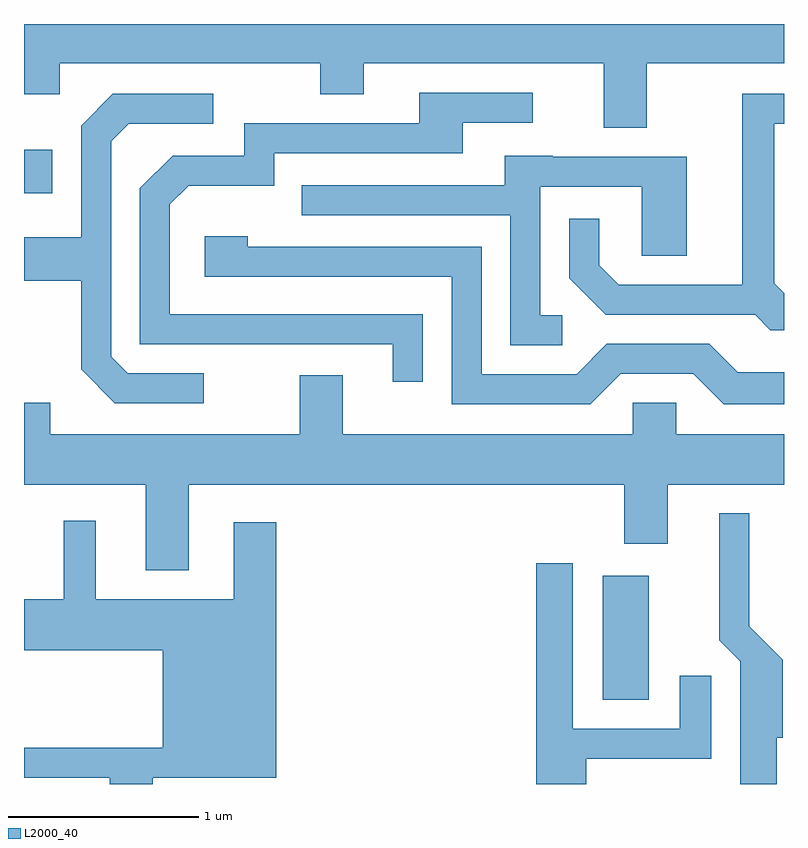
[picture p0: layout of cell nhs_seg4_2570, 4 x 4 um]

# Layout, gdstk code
import gdstk
lib = gdstk.Library(unit=1e-6, precision=1e-09)
def R(c, l, rs):  # rectangles x0, y0, x1, y1
    for r in rs: c.add(gdstk.rectangle(r[:2], r[2:], *l))
def P(c, l, *ps):  # polygons
    for p in ps: c.add(gdstk.Polygon(p, *l))
L2000_40 = (2000, 40)

nhs_seg4_2570 = lib.new_cell('nhs_seg4_2570')
R(nhs_seg4_2570, L2000_40, [(262.656,1362.426,262.899,1363.079), (259.611,1365.091,259.759,1365.319)])
P(nhs_seg4_2570, L2000_40, [(262.889,1365.776),(263.611,1365.776),(263.611,1365.982),(259.611,1365.982),(259.611,1365.611),(259.799,1365.611),(259.799,1365.776),(261.171,1365.776),(261.171,1365.611),(261.399,1365.611),(261.399,1365.776),(262.661,1365.776),(262.661,1365.436),(262.889,1365.436)],
  [(261.709,1364.454),(260.379,1364.454),(260.379,1365.034),(260.477,1365.131),(260.929,1365.131),(260.929,1365.301),(261.919,1365.301),(261.919,1365.461),(262.288,1365.461),(262.288,1365.619),(261.691,1365.619),(261.691,1365.459),(260.771,1365.459),(260.771,1365.289),(260.394,1365.289),(260.221,1365.117),(260.221,1364.296),(261.551,1364.296),(261.551,1364.098),(261.709,1364.098)],
  [(263.611,1364.565),(263.559,1364.617),(263.559,1365.456),(263.611,1365.456),(263.611,1365.614),(263.391,1365.614),(263.391,1364.609),(262.742,1364.609),(262.639,1364.712),(262.639,1364.958),(262.481,1364.958),(262.481,1364.644),(262.674,1364.451),(263.459,1364.451),(263.539,1364.371),(263.611,1364.371)],
  [(260.558,1364.144),(260.157,1364.144),(260.069,1364.232),(260.069,1365.364),(260.162,1365.456),(260.608,1365.456),(260.608,1365.614),(260.079,1365.614),(259.911,1365.447),(259.911,1364.859),(259.611,1364.859),(259.611,1364.631),(259.911,1364.631),(259.911,1364.164),(260.089,1363.986),(260.558,1363.986)],
  [(262.443,1364.449),(262.329,1364.449),(262.329,1365.126),(262.861,1365.126),(262.861,1364.761),(263.099,1364.761),(263.099,1365.284),(262.395,1365.284),(262.395,1365.289),(262.141,1365.289),(262.141,1365.134),(261.073,1365.134),(261.073,1364.976),(262.171,1364.976),(262.171,1364.291),(262.443,1364.291)],
  [(262.752,1364.141),(263.134,1364.141),(263.294,1363.981),(263.611,1363.981),(263.611,1364.149),(263.367,1364.149),(263.217,1364.299),(262.679,1364.299),(262.519,1364.139),(262.019,1364.139),(262.019,1364.809),(260.789,1364.809),(260.789,1364.864),(260.561,1364.864),(260.561,1364.651),(261.861,1364.651),(261.861,1363.981),(262.592,1363.981)],
  [(260.479,1363.556),(262.771,1363.556),(262.771,1363.246),(262.999,1363.246),(262.999,1363.556),(263.611,1363.556),(263.611,1363.824),(263.044,1363.824),(263.044,1363.989),(262.816,1363.989),(262.816,1363.824),(261.289,1363.824),(261.289,1364.134),(261.061,1364.134),(261.061,1363.824),(259.749,1363.824),(259.749,1363.989),(259.611,1363.989),(259.611,1363.556),(260.251,1363.556),(260.251,1363.106),(260.479,1363.106)],
  [(263.574,1362.226),(263.604,1362.226),(263.604,1362.637),(263.429,1362.812),(263.429,1363.408),(263.271,1363.408),(263.271,1362.739),(263.381,1362.629),(263.381,1361.982),(263.574,1361.982)],
  [(260.289,1362.016),(260.939,1362.016),(260.939,1363.359),(260.716,1363.359),(260.716,1362.954),(259.989,1362.954),(259.989,1363.368),(259.821,1363.368),(259.821,1362.954),(259.611,1362.954),(259.611,1362.686),(260.341,1362.686),(260.341,1362.174),(259.611,1362.174),(259.611,1362.016),(260.061,1362.016),(260.061,1361.982),(260.289,1361.982)],
  [(262.569,1362.116),(263.229,1362.116),(263.229,1362.553),(263.061,1362.553),(263.061,1362.274),(262.499,1362.274),(262.499,1363.144),(262.306,1363.144),(262.306,1361.982),(262.569,1361.982)])

lib.write_gds('nhs_seg4_2570.gds')
